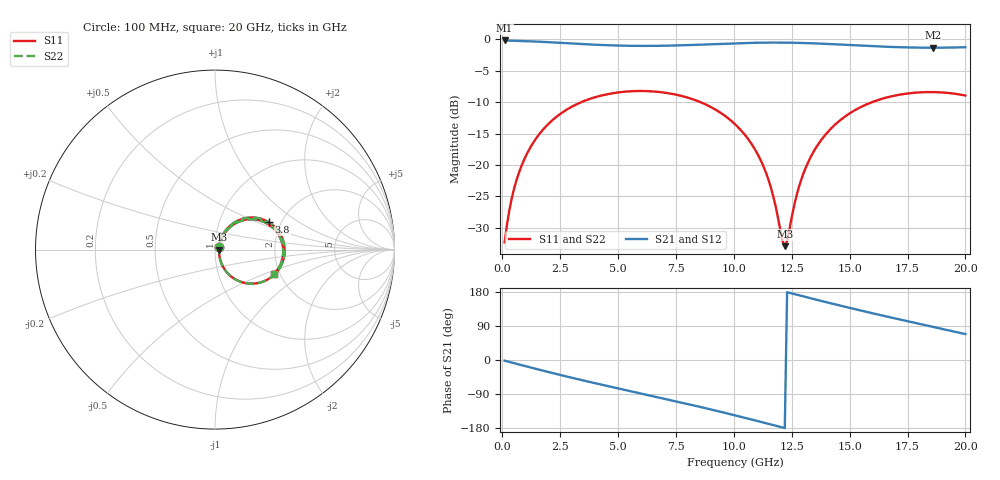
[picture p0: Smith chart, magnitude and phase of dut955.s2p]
! Touchstone file exported from HFSS 2026.1.0
!  File:  C:/ffzhzh/LocalFiles/Ansys_Project_Files/temp_train_TSV_RDL_955_1783283597_5512.aedt
!  Generated:  04:43:59 AM Jul  6, 2026
!  Design:  TSV_RDL
!  Project:  temp_train_TSV_RDL_955_1783283597_5512
! Variables:
!  h_bsmrdl = 5.02um
!  h_ox = 20um
!  h_rdl = 5um
!  h_sub = 76.86um
!  h_tmrdl = 4.25um
!  h_tsv = 76.86um
!  h_via = 3um
!  l_bsmrdl = 557.36um
!  l_sub = 4872.19um
!  l_tmrdl = 673.77um
!  m_sub = 200um
!  pitch = 36.05um
!  r_tsv = 11.16um
!  s_tmrdl = 10um
!  w_bsmrdl = 13.01um
!  w_sub = 500um
!  w_tmrdl = 22um
!  x_tsv_center1 = 684.77um
!  x_tsv_center2 = 1255.14um
!  x_tsv_center3 = 1950.91um
!  x_tsv_center4 = 2521.28um
!  x_tsv_center5 = 3217.05um
!  x_tsv_center6 = 3787.42um
# GHz S MA R 50.000000
! Terminal data exported
! Port[1] = TM_RDL1_1_T1
! Port[2] = TM_RDL5_1_T1
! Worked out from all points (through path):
!   200 points, 100 MHz to 20 GHz, reference 50 ohm
!   highest |S21| = -0.18 dB at 100 MHz (marker M1); lowest = -1.3 dB at 18.6 GHz (marker M2)
!   group delay of S21, straight-line fit = 40.6 ps
!   lowest |S11| = -32.9 dB at 12.2 GHz (marker M3), VSWR 1.05, Z = 52.3 - j0.116 ohm
!   |S11| at or under -10 dB: start of sweep to 3.409 GHz; 8.559 GHz to 15.96 GHz (7.405 GHz wide, 60.4 % of centre)
!   |S22| runs from -32.7 to -8.2 dB; largest |S21 - S12| = 2e-14
!   S11 on the Smith chart (normalised r, x): 100 MHz: 1.04, +0.03; 3.8 GHz: 1.73, +0.59; 20 GHz: 1.88, -0.57
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0.1  0.02424 30.9  0.9795 -1.7  0.9795 -1.7  0.02424 30.9
! Gamma 0 0 0 0
! Port Impedance 50 0 50 0
0.3  0.04324 53.6  0.9768 -5.0  0.9768 -5.0  0.04324 53.6
0.5  0.06391 59.9  0.9744 -8.3  0.9744 -8.3  0.06391 59.9
1.2  0.1369 59.6  0.9646 -19.4  0.9646 -19.4  0.1369 59.6
2.2  0.2305 48.1  0.9447 -34.9  0.9447 -34.9  0.2305 48.1
3.5  0.3213 30.8  0.9158 -54.1  0.9158 -54.1  0.3214 30.8
3.8  0.3368 26.8  0.9099 -58.3  0.9099 -58.3  0.3368 26.8
5.3  0.3834 7.2  0.8896 -79.0  0.8896 -79.0  0.3834 7.2
6.8  0.3808 -12.1  0.8882 -99.4  0.8882 -99.4  0.3808 -12.1
8.5  0.3195 -34.2  0.9062 -123.1  0.9062 -123.1  0.3196 -34.2
10.1  0.2069 -54.8  0.9301 -146.8  0.9301 -146.8  0.207 -54.7
10.8  0.1438 -62.4  0.9379 -157.6  0.9379 -157.6  0.1439 -62.3
11.3  0.09551 -65.3  0.9412 -165.4  0.9412 -165.4  0.09559 -65.1
11.7  0.05667 -61.5  0.9423 -171.7  0.9423 -171.7  0.05682 -61.2
12.1  0.02493 -25.9  0.9418 -178.0  0.9418 -178.0  0.02531 -25.5
12.2  0.02263 -2.8  0.9414 -179.6  0.9414 -179.6  0.02306 -2.8
12.8  0.06583 58.2  0.9372 171.0  0.9372 171.0  0.06601 57.8
13.4  0.1235 58.7  0.9297 161.7  0.9297 161.7  0.1236 58.5
14.7  0.2356 44.9  0.9066 142.0  0.9066 142.0  0.2357 44.7
16.7  0.3484 19.5  0.8709 113.4  0.8709 113.4  0.3485 19.3
18.6  0.3804 -4.4  0.8578 87.5  0.8578 87.5  0.3805 -4.6
20  0.3571 -21.9  0.8652 68.3  0.8652 68.3  0.3572 -22.1
